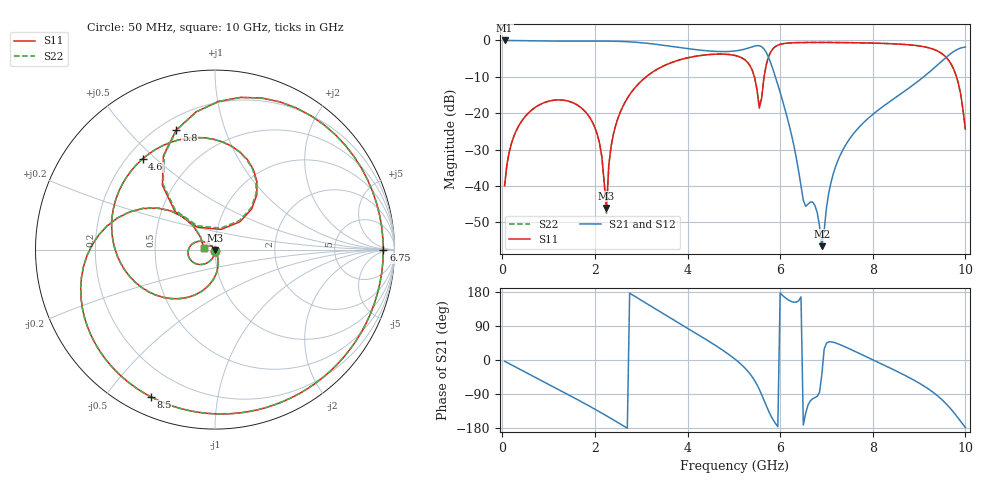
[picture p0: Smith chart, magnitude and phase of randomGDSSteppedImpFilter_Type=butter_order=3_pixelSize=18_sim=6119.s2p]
! freq	dB(S11)	phase(S11)	dB(S12)	phase(S12)
!  dB(S21)	phase(S21)	dB(S22)	phase(S22)
!S-par simulation data
#  GHz  S  DB  R 50
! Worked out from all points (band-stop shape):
!   200 points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, 50 MHz to 10 GHz, reference 50 ohm
!   highest |S21| = -0.01 dB at 50 MHz (marker M1); lowest = -56.6 dB at 6.9 GHz (marker M2)
!   |S21| within 3 dB of the highest: start of sweep to 4.601 GHz; 4.92 GHz to 5.685 GHz (765.1 MHz wide, 14.4 % of centre) (the widest 2 of 3)
!   lowest |S11| = -46.0 dB at 2.25 GHz (marker M3), VSWR 1.01, Z = 49.9 - j0.488 ohm
!   |S11| at or under -10 dB: start of sweep to 3.107 GHz; 5.443 GHz to 5.654 GHz (210.7 MHz wide, 3.8 % of centre); 9.808 GHz to end of sweep
!   |S22| runs from -47.5 to -0.6 dB; largest |S21 - S12| = 0
!   S11 on the Smith chart (normalised r, x): 50 MHz: 1.00, -0.02; 4.6 GHz: 0.26, +0.45; 5.8 GHz: 0.26, +0.69; 6.75 GHz: 31, -1; 8.5 GHz: 0.08, -0.65; 10 GHz: 0.89, +0.01
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0.05  -39.96 -89.4  -0.01 -3.3  -0.01 -3.3  -39.96 -89.4
0.55  -20.14 -126.0  -0.09 -35.5  -0.09 -35.5  -20.14 -126.0
1.75  -19.04 157.3  -0.19 -112.9  -0.19 -112.9  -19.04 156.8
2.1  -28.27 136.5  -0.18 -136.7  -0.18 -136.7  -28.29 134.6
2.25  -46.04 -101.4  -0.19 -147.3  -0.19 -147.3  -47.51 -88.1
2.35  -29.06 -70.7  -0.20 -154.4  -0.20 -154.4  -29.08 -68.2
2.5  -21.28 -78.5  -0.25 -165.3  -0.25 -165.3  -21.29 -77.4
3.4  -7.54 -143.5  -1.21 127.7  -1.21 127.7  -7.54 -143.1
4.6  -3.79 128.5  -3.01 38.7  -3.01 38.7  -3.79 128.9
5.05  -4.22 90.8  -2.86 -0.2  -2.86 -0.2  -4.21 91.2
5.4  -8.28 52.8  -1.74 -45.1  -1.74 -45.1  -8.25 53.7
5.55  -18.62 73.5  -1.46 -77.6  -1.46 -77.6  -18.15 75.0
5.8  -3.09 107.9  -6.31 -147.2  -6.31 -147.2  -3.07 107.5
6.5  -0.58 20.4  -43.92 -171.6  -43.92 -171.6  -0.58 20.4
6.7  -0.56 3.9  -44.44 -102.6  -44.44 -102.6  -0.56 3.8
6.75  -0.56 -0.1  -45.35 -99.3  -45.35 -99.3  -0.56 -0.1
6.9  -0.56 -11.5  -56.56 -39.3  -56.56 -39.3  -0.56 -11.6
7.3  -0.59 -39.9  -31.48 40.2  -31.48 40.2  -0.59 -39.9
8.35  -0.88 -104.8  -16.98 -19.7  -16.98 -19.7  -0.88 -104.9
8.5  -0.97 -113.7  -15.63 -28.6  -15.63 -28.6  -0.97 -113.7
9.6  -4.87 162.1  -4.48 -117.5  -4.48 -117.5  -4.87 161.9
10  -24.30 173.4  -1.84 -178.3  -1.84 -178.3  -24.58 172.9
